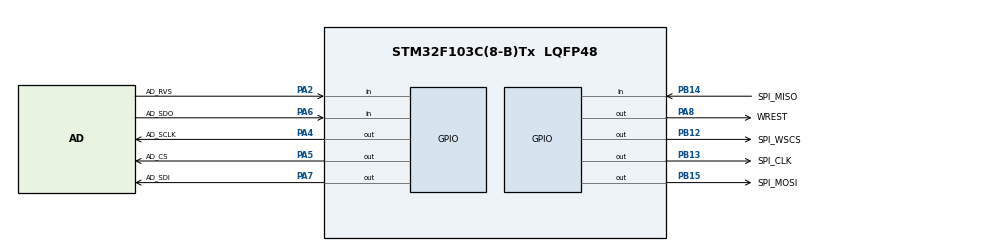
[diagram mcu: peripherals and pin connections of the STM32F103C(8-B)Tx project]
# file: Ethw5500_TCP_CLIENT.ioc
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Mcu.Family=STM32F1
Mcu.Name=STM32F103C(8-B)Tx
Mcu.Package=LQFP48
NVIC.PriorityGroup=NVIC_PRIORITYGROUP_4
NVIC.TIM4_IRQn=true\:0\:0\:false\:false\:true\:true
PA13.Mode=Serial_Wire
PA13.Signal=SYS_JTMS-SWDIO
PA14.Mode=Serial_Wire
PA14.Signal=SYS_JTCK-SWCLK
PA2.GPIO_Label=AD_RVS
PA2.Signal=GPIO_Input
PA4.GPIO_Label=AD_SCLK
PA4.Signal=GPIO_Output
PA5.GPIO_Label=AD_CS
PA5.Signal=GPIO_Output
PA6.GPIO_Label=AD_SDO
PA6.Signal=GPIO_Input
PA7.GPIO_Label=AD_SDI
PA7.Signal=GPIO_Output
PA8.GPIO_Label=WREST
PA8.Signal=GPIO_Output
PB12.GPIO_Label=SPI_WSCS
PB12.GPIO_Speed=GPIO_SPEED_FREQ_HIGH
PB12.Signal=GPIO_Output
PB13.GPIO_Label=SPI_CLK
PB13.GPIO_Speed=GPIO_SPEED_FREQ_HIGH
PB13.Signal=GPIO_Output
PB14.GPIO_Label=SPI_MISO
PB14.Signal=GPIO_Input
PB15.GPIO_Label=SPI_MOSI
PB15.GPIO_Speed=GPIO_SPEED_FREQ_HIGH
PB15.Signal=GPIO_Output
PD0-OSC_IN.Mode=HSE-External-Oscillator
PD0-OSC_IN.Signal=RCC_OSC_IN
PD1-OSC_OUT.Mode=HSE-External-Oscillator
PD1-OSC_OUT.Signal=RCC_OSC_OUT
ProjectManager.HeapSize=0x200
ProjectManager.StackSize=0x400
ProjectManager.TargetToolchain=MDK-ARM V5
RCC.APB1Freq_Value=8000000
RCC.APB2Freq_Value=8000000
TIM4.AutoReloadPreload=TIM_AUTORELOAD_PRELOAD_ENABLE
TIM4.Period=800
VP_TIM4_VS_ClockSourceINT.Mode=Internal
board=Ethw5500_TCP_CLIENT

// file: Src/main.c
/**
  ******************************************************************************
  * File Name          : main.c
  * Description        : Main program body
  ******************************************************************************
  ** This notice applies to any and all portions of this file
  * that are not between comment pairs USER CODE BEGIN and
  * USER CODE END. Other portions of this file, whether
  * inserted by the user or by software development tools
  * are owned by their respective copyright owners.
  *
  * COPYRIGHT(c) 2018 STMicroelectronics
  *
  * Redistribution and use in source and binary forms, with or without modification,
  * are permitted provided that the following conditions are met:
  *   1. Redistributions of source code must retain the above copyright notice,
  *      this list of conditions and the following disclaimer.
  *   2. Redistributions in binary form must reproduce the above copyright notice,
  *      this list of conditions and the following disclaimer in the documentation
  *      and/or other materials provided with the distribution.
  *   3. Neither the name of STMicroelectronics nor the names of its contributors
  *      may be used to endorse or promote products derived from this software
  *      without specific prior written permission.
  *
  * THIS SOFTWARE IS PROVIDED BY THE COPYRIGHT HOLDERS AND CONTRIBUTORS "AS IS"
  * AND ANY EXPRESS OR IMPLIED WARRANTIES, INCLUDING, BUT NOT LIMITED TO, THE
  * IMPLIED WARRANTIES OF MERCHANTABILITY AND FITNESS FOR A PARTICULAR PURPOSE ARE
  * DISCLAIMED. IN NO EVENT SHALL THE COPYRIGHT HOLDER OR CONTRIBUTORS BE LIABLE
  * FOR ANY DIRECT, INDIRECT, INCIDENTAL, SPECIAL, EXEMPLARY, OR CONSEQUENTIAL
  * DAMAGES (INCLUDING, BUT NOT LIMITED TO, PROCUREMENT OF SUBSTITUTE GOODS OR
  * SERVICES; LOSS OF USE, DATA, OR PROFITS; OR BUSINESS INTERRUPTION) HOWEVER
  * CAUSED AND ON ANY THEORY OF LIABILITY, WHETHER IN CONTRACT, STRICT LIABILITY,
  * OR TORT (INCLUDING NEGLIGENCE OR OTHERWISE) ARISING IN ANY WAY OUT OF THE USE
  * OF THIS SOFTWARE, EVEN IF ADVISED OF THE POSSIBILITY OF SUCH DAMAGE.
  *
  ******************************************************************************
  */

#include "main.h"
#include "stm32f1xx_hal.h"
#include "tim.h"
#include "gpio.h"

/* USER CODE BEGIN Includes */
#include "SimSPI.h"
#include "socket.h"
#include "wfSys.h"
#include "w5500_Conf.h"
#include "socket.h"
#include "ADS8689.h"
/* USER CODE END Includes */

/* USER CODE BEGIN PV */
uint8_t wfTemp8[20];
uint8_t pc_ip[4]={192,168,0,152};/*配置目标服务器的IP地址*/
uint16_t DESPORT=6000;
uint8_t buffer[1024];
volatile uint8_t gTemp;
uint8_t gDATABUF[DATA_BUF_SIZE];
uint8_t ADList[1024];
uint16_t ADIndex;
uint8_t bNeedTx;
/* Private variables ---------------------------------------------------------*/

/* USER CODE END PV */

void SystemClock_Config(void);

/* USER CODE BEGIN PFP */
/* Private function prototypes -----------------------------------------------*/

/* USER CODE END PFP */

/* USER CODE BEGIN 0 */
void Reset_W5500(void)
{
	HAL_GPIO_WritePin(WREST_GPIO_Port,WREST_Pin,GPIO_PIN_RESET);
	wfDelay_us(2);
	HAL_GPIO_WritePin(WREST_GPIO_Port,WREST_Pin,GPIO_PIN_SET);
	wfDelay_ms(800);
}
int32_t loopback_tcpc(uint8_t sn, uint8_t* buf, uint8_t* destip, uint16_t destport)
{
	int32_t ret; // return value for SOCK_ERRORs
	uint16_t size = 0, sentsize=0;

	// Destination (TCP Server) IP info (will be connected)
	// >> loopback_tcpc() function parameter
	// >> Ex)
	//	uint8_t destip[4] = 	{192, 168, 0, 214};
	//	uint16_t destport = 	5000;

	// Port number for TCP client (will be increased)
	uint16_t any_port = 	50000;

	// Socket Status Transitions
	// Check the W5500 Socket n status register (Sn_SR, The 'Sn_SR' controlled by Sn_CR command or Packet send/recv status)
	switch(getSn_SR(sn))
	{
	case SOCK_ESTABLISHED :
		if(getSn_IR(sn) & Sn_IR_CON)	// Socket n interrupt register mask; TCP CON interrupt = connection with peer is successful
		{
#ifdef _LOOPBACK_DEBUG_
			printf("%d:Connected to - %d.%d.%d.%d : %d\r\n",sn, destip[0], destip[1], destip[2], destip[3], destport);
#endif
			setSn_IR(sn, Sn_IR_CON);  // this interrupt should be write the bit cleared to '1'
		}

		//////////////////////////////////////////////////////////////////////////////////////////////
		// Data Transaction Parts; Handle the [data receive and send] process
		//////////////////////////////////////////////////////////////////////////////////////////////
// 		if((size = getSn_RX_RSR(sn)) > 0) // Sn_RX_RSR: Socket n Received Size Register, Receiving data length
// 		{
// 			if(size > DATA_BUF_SIZE) size = DATA_BUF_SIZE; // DATA_BUF_SIZE means user defined buffer size (array)
// 			ret = recv(sn, buf, size); // Data Receive process (H/W Rx socket buffer -> User's buffer)
//
// 			if(ret <= 0) return ret; // If the received data length <= 0, receive failed and process end
// 			sentsize = 0;
//
// 			// Data sentsize control
// 			while(size != sentsize)
// 			{
// 				ret = send(sn, buf+sentsize, size-sentsize); // Data send process (User's buffer -> Destination through H/W Tx socket buffer)
// 				if(ret < 0) // Send Error occurred (sent data length < 0)
// 				{
// 					close(sn); // socket close
// 					return ret;
// 				}
// 				sentsize += ret; // Don't care SOCKERR_BUSY, because it is zero.
// 			}
// 		}
		if(bNeedTx!=0)
		{
			bNeedTx=0;
			send(sn, ADList, 1024);
		}
		//////////////////////////////////////////////////////////////////////////////////////////////
		break;

	case SOCK_CLOSE_WAIT :
#ifdef _LOOPBACK_DEBUG_
		//printf("%d:CloseWait\r\n",sn);
#endif
		if((ret=disconnect(sn)) != SOCK_OK) return ret;
#ifdef _LOOPBACK_DEBUG_
		printf("%d:Socket Closed\r\n", sn);
#endif
		break;

	case SOCK_INIT :
#ifdef _LOOPBACK_DEBUG_
		printf("%d:Try to connect to the %d.%d.%d.%d : %d\r\n", sn, destip[0], destip[1], destip[2], destip[3], destport);
#endif
		if( (ret = connect(sn, destip, destport)) != SOCK_OK) return ret;	//	Try to TCP connect to the TCP server (destination)
		break;

	case SOCK_CLOSED:
		close(sn);
		if((ret=socket(sn, Sn_MR_TCP, any_port++, 0x00)) != sn) return ret; // TCP socket open with 'any_port' port number
#ifdef _LOOPBACK_DEBUG_
		//printf("%d:TCP client loopback start\r\n",sn);
		//printf("%d:Socket opened\r\n",sn);
#endif
		break;
	default:
		break;
	}
	return 1;
}
/* USER CODE END 0 */

int main(void)
{

  /* USER CODE BEGIN 1 */
	int32_t ret = 0;
	uint8_t x;
	uint16_t len=0;
	uint16_t anyport=7000;/*定义一个任意端口并初始化*/
  /* USER CODE END 1 */

  /* MCU Configuration----------------------------------------------------------*/

  /* Reset of all peripherals, Initializes the Flash interface and the Systick. */
  HAL_Init();

  /* Configure the system clock */
  SystemClock_Config();

  /* Initialize all configured peripherals */
  MX_GPIO_Init();
  MX_TIM4_Init();

  /* USER CODE BEGIN 2 */
  ADS8689_Setting(0x16,0x000b);//0~5.12V
  HAL_TIM_Base_Start_IT(&htim4);
  /* USER CODE END 2 */

  /* Infinite loop */
  while (1)
  {

  /* USER CODE BEGIN 3 */
	  if( (ret = loopback_tcpc(0, gDATABUF,pc_ip,DESPORT)) < 0)
	  {

		  //printf("SOCKET ERROR : %ld\r\n", ret);
	  }
// 	  switch(w5500_Get_SocketN_SocketStatus(0))/*获取socket0的状态*/
// 	  {
// 	  case w5500_RegVal_SOCK_INIT:/*socket初始化完成*/
// 		  w5500_SocketConnect(0, pc_ip ,DESPORT);/*在TCP模式下向服务器发送连接请求*/
// 		  break;
// 	  case w5500_RegVal_SOCK_ESTABLISHED:/*socket连接建立*/
// 		  if(w5500_Get_SocketN_InterruptStatus(0) & w5500_RegVal_Sn_IR_CON)
// 		  {
// 			  w5500_Set_SocketN_InterruptReg(0, w5500_RegVal_Sn_IR_CON);/*Sn_IR的第0位置1*/
// 		  }
//
// 		  len=w5500_Get_SocketN_RxBufSize(0);/*len为已接收数据的大小*/
//
// 		  if(len>0)
// 		  {
// 			  w5500_SocketRecv(0,buffer,len);/*W5500接收来自Sever的数据*/
// 			  w5500_SocketSend(0,buffer,len);
// // 			  Com1_TxCounter = len;  //接收长度
// // 			  USART_ITConfig(USART1, USART_IT_TXE, ENABLE);  //开启串口发送中断 发送以太网接收来的数据
// 		  }
//
// // 		  if(Com1_Counter>0)  //表示串口接收缓冲内有内容，需要经网口发送
// // 		  {
// // 			  send(0,Com1_Rxbuff,Com1_Counter);
// // 			  Com1_Counter = 0;
// // 		  }
//
// 		  break;
// 	  case w5500_RegVal_SOCK_CLOSE_WAIT:/*socket等待关闭状态*/
// 		  w5500_SocketClose(0);
// 		  break;
// 	  case w5500_RegVal_SOCK_CLOSED:/*socket关闭*/
// 		  w5500_MakeSocket(0,w5500_RegVal_Sn_MR_TCP,anyport++,w5500_RegVal_Sn_MR_ND);/*打开socket0的一个端口*/
// 		  break;
// 	  default:
// 		  gTemp=w5500_Get_SocketN_SocketStatus(0);
// 		  len=0;
// 		  break;
// 	  }

  }
  /* USER CODE END 3 */

}

/** System Clock Configuration
*/
void SystemClock_Config(void)
{

  RCC_OscInitTypeDef RCC_OscInitStruct;
  RCC_ClkInitTypeDef RCC_ClkInitStruct;

    /**Initializes the CPU, AHB and APB busses clocks
    */
  RCC_OscInitStruct.OscillatorType = RCC_OSCILLATORTYPE_HSI;
  RCC_OscInitStruct.HSIState = RCC_HSI_ON;
  RCC_OscInitStruct.HSICalibrationValue = 16;
  RCC_OscInitStruct.PLL.PLLState = RCC_PLL_NONE;
  if (HAL_RCC_OscConfig(&RCC_OscInitStruct) != HAL_OK)
  {
    _Error_Handler(__FILE__, __LINE__);
  }

    /**Initializes the CPU, AHB and APB busses clocks
    */
  RCC_ClkInitStruct.ClockType = RCC_CLOCKTYPE_HCLK|RCC_CLOCKTYPE_SYSCLK
                              |RCC_CLOCKTYPE_PCLK1|RCC_CLOCKTYPE_PCLK2;
  RCC_ClkInitStruct.SYSCLKSource = RCC_SYSCLKSOURCE_HSI;
  RCC_ClkInitStruct.AHBCLKDivider = RCC_SYSCLK_DIV1;
  RCC_ClkInitStruct.APB1CLKDivider = RCC_HCLK_DIV1;
  RCC_ClkInitStruct.APB2CLKDivider = RCC_HCLK_DIV1;

  if (HAL_RCC_ClockConfig(&RCC_ClkInitStruct, FLASH_LATENCY_0) != HAL_OK)
  {
    _Error_Handler(__FILE__, __LINE__);
  }

    /**Configure the Systick interrupt time
    */
  HAL_SYSTICK_Config(HAL_RCC_GetHCLKFreq()/1000);

    /**Configure the Systick
    */
  HAL_SYSTICK_CLKSourceConfig(SYSTICK_CLKSOURCE_HCLK);

  /* SysTick_IRQn interrupt configuration */
  HAL_NVIC_SetPriority(SysTick_IRQn, 0, 0);
}

void _Error_Handler(char * file, int line)
{
  while(1)
  {
  }
}

/************************ (C) COPYRIGHT STMicroelectronics *****END OF FILE****/
